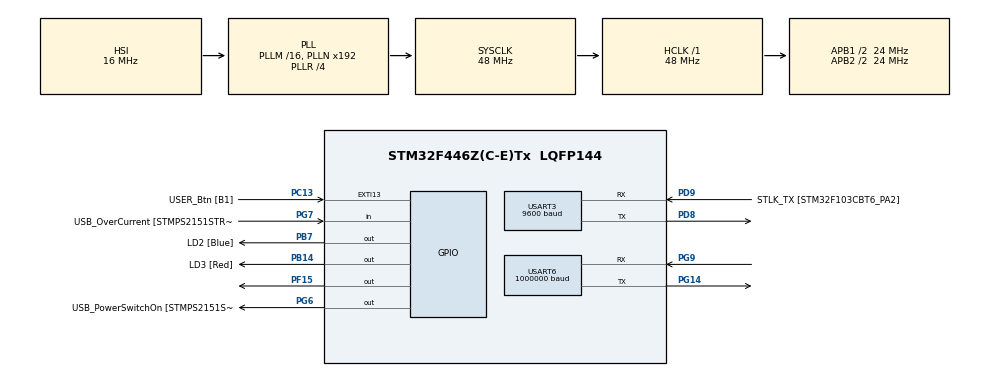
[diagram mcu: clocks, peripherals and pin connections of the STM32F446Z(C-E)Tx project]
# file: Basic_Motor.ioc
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Mcu.Family=STM32F4
Mcu.Name=STM32F446Z(C-E)Tx
Mcu.Package=LQFP144
NVIC.PriorityGroup=NVIC_PRIORITYGROUP_4
PA10.GPIO_Label=USB_ID
PA10.Signal=USB_OTG_FS_ID
PA11.GPIO_Label=USB_DM
PA11.Signal=USB_OTG_FS_DM
PA12.GPIO_Label=USB_DP
PA12.Signal=USB_OTG_FS_DP
PA13.GPIO_Label=TMS
PA13.Signal=SYS_JTMS-SWDIO
PA14.GPIO_Label=TCK
PA14.Signal=SYS_JTCK-SWCLK
PA8.GPIO_Label=USB_SOF [TP1]
PA8.Signal=USB_OTG_FS_SOF
PA9.GPIO_Label=USB_VBUS
PA9.Signal=USB_OTG_FS_VBUS
PB14.GPIO_Label=LD3 [Red]
PB14.Signal=GPIO_Output
PB7.GPIO_Label=LD2 [Blue]
PB7.Signal=GPIO_Output
PC13.GPIO_Label=USER_Btn [B1]
PC13.Signal=GPXTI13
PC14-OSC32_IN.Signal=RCC_OSC32_IN
PC15-OSC32_OUT.Signal=RCC_OSC32_OUT
PD8.Mode=Asynchronous
PD8.Signal=USART3_TX
PD9.GPIO_Label=STLK_TX [STM32F103CBT6_PA2]
PD9.Mode=Asynchronous
PD9.Signal=USART3_RX
PF15.GPIO_Speed=GPIO_SPEED_FREQ_VERY_HIGH
PF15.Signal=GPIO_Output
PG14.Mode=Asynchronous
PG14.Signal=USART6_TX
PG6.GPIO_Label=USB_PowerSwitchOn [STMPS2151STR_EN]
PG6.Signal=GPIO_Output
PG7.GPIO_Label=USB_OverCurrent [STMPS2151STR_FAULT]
PG7.Signal=GPIO_Input
PG9.Mode=Asynchronous
PG9.Signal=USART6_RX
PH0-OSC_IN.GPIO_Label=MCO [STM32F103CBT6_PA8]
PH0-OSC_IN.Signal=RCC_OSC_IN
PH1-OSC_OUT.Signal=RCC_OSC_OUT
ProjectManager.HeapSize=0x200
ProjectManager.StackSize=0x400
ProjectManager.TargetToolchain=SW4STM32
RCC.48MHZClocksFreq_Value=24000000
RCC.AHBFreq_Value=48000000
RCC.APB1CLKDivider=RCC_HCLK_DIV2
RCC.APB1Freq_Value=24000000
RCC.APB1TimFreq_Value=48000000
RCC.APB2CLKDivider=RCC_HCLK_DIV2
RCC.APB2Freq_Value=24000000
RCC.APB2TimFreq_Value=48000000
RCC.CortexFreq_Value=48000000
RCC.HCLKFreq_Value=48000000
RCC.HSE_VALUE=8000000
RCC.HSI_VALUE=16000000
RCC.LSE_VALUE=32768
RCC.PLLMUL=RCC_PLL_MUL9
RCC.PLLR=4
RCC.PRESCALERUSB=RCC_USBCLKSOURCE_PLL_DIV1_5
RCC.SYSCLKFreq_VALUE=48000000
RCC.SYSCLKSource=RCC_SYSCLKSOURCE_PLLRCLK
RCC.SYSCLKSourceVirtual=RCC_SYSCLKSOURCE_PLLCLK
RCC.USBFreq_Value=96000000
RCC.VCOOutputFreq_Value=192000000
USART3.BaudRate=9600
USART3.VirtualMode=VM_ASYNC
USART6.BaudRate=1000000
USART6.VirtualMode=VM_ASYNC
board=NUCLEO-F446ZE

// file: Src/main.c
/**
  ******************************************************************************
  * File Name          : main.c
  * Description        : Main program body
  ******************************************************************************
  ** This notice applies to any and all portions of this file
  * that are not between comment pairs USER CODE BEGIN and
  * USER CODE END. Other portions of this file, whether
  * inserted by the user or by software development tools
  * are owned by their respective copyright owners.
  *
  * COPYRIGHT(c) 2017 STMicroelectronics
  *
  * Redistribution and use in source and binary forms, with or without modification,
  * are permitted provided that the following conditions are met:
  *   1. Redistributions of source code must retain the above copyright notice,
  *      this list of conditions and the following disclaimer.
  *   2. Redistributions in binary form must reproduce the above copyright notice,
  *      this list of conditions and the following disclaimer in the documentation
  *      and/or other materials provided with the distribution.
  *   3. Neither the name of STMicroelectronics nor the names of its contributors
  *      may be used to endorse or promote products derived from this software
  *      without specific prior written permission.
  *
  * THIS SOFTWARE IS PROVIDED BY THE COPYRIGHT HOLDERS AND CONTRIBUTORS "AS IS"
  * AND ANY EXPRESS OR IMPLIED WARRANTIES, INCLUDING, BUT NOT LIMITED TO, THE
  * IMPLIED WARRANTIES OF MERCHANTABILITY AND FITNESS FOR A PARTICULAR PURPOSE ARE
  * DISCLAIMED. IN NO EVENT SHALL THE COPYRIGHT HOLDER OR CONTRIBUTORS BE LIABLE
  * FOR ANY DIRECT, INDIRECT, INCIDENTAL, SPECIAL, EXEMPLARY, OR CONSEQUENTIAL
  * DAMAGES (INCLUDING, BUT NOT LIMITED TO, PROCUREMENT OF SUBSTITUTE GOODS OR
  * SERVICES; LOSS OF USE, DATA, OR PROFITS; OR BUSINESS INTERRUPTION) HOWEVER
  * CAUSED AND ON ANY THEORY OF LIABILITY, WHETHER IN CONTRACT, STRICT LIABILITY,
  * OR TORT (INCLUDING NEGLIGENCE OR OTHERWISE) ARISING IN ANY WAY OUT OF THE USE
  * OF THIS SOFTWARE, EVEN IF ADVISED OF THE POSSIBILITY OF SUCH DAMAGE.
  *
  ******************************************************************************
  */
#include "main.h"
#include "stm32f4xx_hal.h"

UART_HandleTypeDef huart3;
UART_HandleTypeDef huart6;

/* USER CODE BEGIN PV */
/* Private variables ---------------------------------------------------------*/

/* USER CODE END PV */

void SystemClock_Config(void);
static void MX_GPIO_Init(void);
static void MX_USART6_UART_Init(void);
static void MX_USART3_UART_Init(void);

/* USER CODE BEGIN PFP */
/* Private function prototypes -----------------------------------------------*/
static void Dynamixel_SetAngle(double angle);
static void Dynamixel_Transmit(void);
static void Dynamixel_Receive(void);
/* USER CODE END PFP */

int main(void)
{

  /* MCU Configuration----------------------------------------------------------*/

  /* Reset of all peripherals, Initializes the Flash interface and the Systick. */
  HAL_Init();

  /* Configure the system clock */
  SystemClock_Config();

  /* Initialize all configured peripherals */
  MX_GPIO_Init();
  MX_USART6_UART_Init();
  MX_USART3_UART_Init();

  /* Infinite loop */
  while (1)
  {

  /* USER CODE BEGIN 3 */
	  //Dynamixel_SetAngle(0);
	  //Dynamixel_Receive();
	  HAL_GPIO_WritePin(GPIOF, GPIO_PIN_15, 1);
	  uint8_t array[11] = {0xff, 0xff, 0xfe, 0x07, 0x03, 0x1e, 0xfe, 0x00, 0xff, 0x00, 0xdc};
	  HAL_UART_Transmit(&huart6, array, 11, 100);
	  HAL_GPIO_WritePin(GPIOF, GPIO_PIN_15, 0);
	  HAL_Delay(1500);

	  HAL_GPIO_WritePin(GPIOF, GPIO_PIN_15, 1);
	  uint8_t array2[11] = {0xff, 0xff, 0xfe, 0x07, 0x03, 0x1e, 0x00, 0x00, 0xff, 0x00, 0xda};
	  HAL_UART_Transmit(&huart6, array2, 11, 100);
	  HAL_GPIO_WritePin(GPIOF, GPIO_PIN_15, 0);
	  HAL_Delay(1500);
  }
  /* USER CODE END 3 */

}

/** System Clock Configuration
*/
void SystemClock_Config(void)
{

  RCC_OscInitTypeDef RCC_OscInitStruct;
  RCC_ClkInitTypeDef RCC_ClkInitStruct;

    /**Configure the main internal regulator output voltage
    */
  __HAL_RCC_PWR_CLK_ENABLE();

  __HAL_PWR_VOLTAGESCALING_CONFIG(PWR_REGULATOR_VOLTAGE_SCALE3);

    /**Initializes the CPU, AHB and APB busses clocks
    */
  RCC_OscInitStruct.OscillatorType = RCC_OSCILLATORTYPE_HSI;
  RCC_OscInitStruct.HSIState = RCC_HSI_ON;
  RCC_OscInitStruct.HSICalibrationValue = 16;
  RCC_OscInitStruct.PLL.PLLState = RCC_PLL_ON;
  RCC_OscInitStruct.PLL.PLLSource = RCC_PLLSOURCE_HSI;
  RCC_OscInitStruct.PLL.PLLM = 16;
  RCC_OscInitStruct.PLL.PLLN = 192;
  RCC_OscInitStruct.PLL.PLLP = RCC_PLLP_DIV2;
  RCC_OscInitStruct.PLL.PLLQ = 2;
  RCC_OscInitStruct.PLL.PLLR = 4;
  if (HAL_RCC_OscConfig(&RCC_OscInitStruct) != HAL_OK)
  {
    _Error_Handler(__FILE__, __LINE__);
  }

    /**Initializes the CPU, AHB and APB busses clocks
    */
  RCC_ClkInitStruct.ClockType = RCC_CLOCKTYPE_HCLK|RCC_CLOCKTYPE_SYSCLK
                              |RCC_CLOCKTYPE_PCLK1|RCC_CLOCKTYPE_PCLK2;
  RCC_ClkInitStruct.SYSCLKSource = RCC_SYSCLKSOURCE_PLLRCLK;
  RCC_ClkInitStruct.AHBCLKDivider = RCC_SYSCLK_DIV1;
  RCC_ClkInitStruct.APB1CLKDivider = RCC_HCLK_DIV2;
  RCC_ClkInitStruct.APB2CLKDivider = RCC_HCLK_DIV2;

  if (HAL_RCC_ClockConfig(&RCC_ClkInitStruct, FLASH_LATENCY_1) != HAL_OK)
  {
    _Error_Handler(__FILE__, __LINE__);
  }

    /**Configure the Systick interrupt time
    */
  HAL_SYSTICK_Config(HAL_RCC_GetHCLKFreq()/1000);

    /**Configure the Systick
    */
  HAL_SYSTICK_CLKSourceConfig(SYSTICK_CLKSOURCE_HCLK);

  /* SysTick_IRQn interrupt configuration */
  HAL_NVIC_SetPriority(SysTick_IRQn, 0, 0);
}

/* USART3 init function */
static void MX_USART3_UART_Init(void)
{

  huart3.Instance = USART3;
  huart3.Init.BaudRate = 9600;
  huart3.Init.WordLength = UART_WORDLENGTH_8B;
  huart3.Init.StopBits = UART_STOPBITS_1;
  huart3.Init.Parity = UART_PARITY_NONE;
  huart3.Init.Mode = UART_MODE_TX_RX;
  huart3.Init.HwFlowCtl = UART_HWCONTROL_NONE;
  huart3.Init.OverSampling = UART_OVERSAMPLING_16;
  if (HAL_UART_Init(&huart3) != HAL_OK)
  {
    _Error_Handler(__FILE__, __LINE__);
  }

}

/* USART6 init function */
static void MX_USART6_UART_Init(void)
{

  huart6.Instance = USART6;
  huart6.Init.BaudRate = 1000000;
  huart6.Init.WordLength = UART_WORDLENGTH_8B;
  huart6.Init.StopBits = UART_STOPBITS_1;
  huart6.Init.Parity = UART_PARITY_NONE;
  huart6.Init.Mode = UART_MODE_TX_RX;
  huart6.Init.HwFlowCtl = UART_HWCONTROL_NONE;
  huart6.Init.OverSampling = UART_OVERSAMPLING_16;
  if (HAL_UART_Init(&huart6) != HAL_OK)
  {
    _Error_Handler(__FILE__, __LINE__);
  }

}

/** Configure pins as
        * Analog
        * Input
        * Output
        * EVENT_OUT
        * EXTI
     PA8   ------> USB_OTG_FS_SOF
     PA9   ------> USB_OTG_FS_VBUS
     PA10   ------> USB_OTG_FS_ID
     PA11   ------> USB_OTG_FS_DM
     PA12   ------> USB_OTG_FS_DP
*/
static void MX_GPIO_Init(void)
{

  GPIO_InitTypeDef GPIO_InitStruct;

  /* GPIO Ports Clock Enable */
  __HAL_RCC_GPIOC_CLK_ENABLE();
  __HAL_RCC_GPIOH_CLK_ENABLE();
  __HAL_RCC_GPIOF_CLK_ENABLE();
  __HAL_RCC_GPIOB_CLK_ENABLE();
  __HAL_RCC_GPIOD_CLK_ENABLE();
  __HAL_RCC_GPIOG_CLK_ENABLE();
  __HAL_RCC_GPIOA_CLK_ENABLE();

  /*Configure GPIO pin Output Level */
  HAL_GPIO_WritePin(GPIOF, GPIO_PIN_15, GPIO_PIN_RESET);

  /*Configure GPIO pin Output Level */
  HAL_GPIO_WritePin(GPIOB, LD3_Pin|LD2_Pin, GPIO_PIN_RESET);

  /*Configure GPIO pin Output Level */
  HAL_GPIO_WritePin(USB_PowerSwitchOn_GPIO_Port, USB_PowerSwitchOn_Pin, GPIO_PIN_RESET);

  /*Configure GPIO pin : USER_Btn_Pin */
  GPIO_InitStruct.Pin = USER_Btn_Pin;
  GPIO_InitStruct.Mode = GPIO_MODE_IT_RISING;
  GPIO_InitStruct.Pull = GPIO_NOPULL;
  HAL_GPIO_Init(USER_Btn_GPIO_Port, &GPIO_InitStruct);

  /*Configure GPIO pin : PF15 */
  GPIO_InitStruct.Pin = GPIO_PIN_15;
  GPIO_InitStruct.Mode = GPIO_MODE_OUTPUT_PP;
  GPIO_InitStruct.Pull = GPIO_NOPULL;
  GPIO_InitStruct.Speed = GPIO_SPEED_FREQ_VERY_HIGH;
  HAL_GPIO_Init(GPIOF, &GPIO_InitStruct);

  /*Configure GPIO pins : LD3_Pin LD2_Pin */
  GPIO_InitStruct.Pin = LD3_Pin|LD2_Pin;
  GPIO_InitStruct.Mode = GPIO_MODE_OUTPUT_PP;
  GPIO_InitStruct.Pull = GPIO_NOPULL;
  GPIO_InitStruct.Speed = GPIO_SPEED_FREQ_LOW;
  HAL_GPIO_Init(GPIOB, &GPIO_InitStruct);

  /*Configure GPIO pin : USB_PowerSwitchOn_Pin */
  GPIO_InitStruct.Pin = USB_PowerSwitchOn_Pin;
  GPIO_InitStruct.Mode = GPIO_MODE_OUTPUT_PP;
  GPIO_InitStruct.Pull = GPIO_NOPULL;
  GPIO_InitStruct.Speed = GPIO_SPEED_FREQ_LOW;
  HAL_GPIO_Init(USB_PowerSwitchOn_GPIO_Port, &GPIO_InitStruct);

  /*Configure GPIO pin : USB_OverCurrent_Pin */
  GPIO_InitStruct.Pin = USB_OverCurrent_Pin;
  GPIO_InitStruct.Mode = GPIO_MODE_INPUT;
  GPIO_InitStruct.Pull = GPIO_NOPULL;
  HAL_GPIO_Init(USB_OverCurrent_GPIO_Port, &GPIO_InitStruct);

  /*Configure GPIO pins : USB_SOF_Pin USB_ID_Pin USB_DM_Pin USB_DP_Pin */
  GPIO_InitStruct.Pin = USB_SOF_Pin|USB_ID_Pin|USB_DM_Pin|USB_DP_Pin;
  GPIO_InitStruct.Mode = GPIO_MODE_AF_PP;
  GPIO_InitStruct.Pull = GPIO_NOPULL;
  GPIO_InitStruct.Speed = GPIO_SPEED_FREQ_VERY_HIGH;
  GPIO_InitStruct.Alternate = GPIO_AF10_OTG_FS;
  HAL_GPIO_Init(GPIOA, &GPIO_InitStruct);

  /*Configure GPIO pin : USB_VBUS_Pin */
  GPIO_InitStruct.Pin = USB_VBUS_Pin;
  GPIO_InitStruct.Mode = GPIO_MODE_INPUT;
  GPIO_InitStruct.Pull = GPIO_NOPULL;
  HAL_GPIO_Init(USB_VBUS_GPIO_Port, &GPIO_InitStruct);

}

/* USER CODE BEGIN 4 */
static void Dynamixel_SetAngle(double angle)
{
	/* Takes a double between 0 and 300, encodes this position in an
	 * upper and low hex byte pair (with a maximum of 1023 as defined in the AX-12
	 * user manual), and sends this information (along with requisites) over UART
	 */
	uint8_t Dynamixel_Requisites[5] = {0xff, 0xff, 0xfe, 0x05, 0x03}; // Obligatory bytes for setting angle

	uint8_t reg_Goal_Position[1] = {0x1e}; // Address of goal position
	uint8_t reg_Angle_Low_Byte[1]; // Low byte of goal position // Test case 1: 0xfe | Test case 2: 0xfd
	uint8_t reg_Angle_High_Byte[1]; // High byte of goal position // Test case 1: 0x00 | Test case 2: 0x01
	uint8_t Checksum[1]; // check sum = 255 - (sum % 256)

	// Do computations
	int normalized_value = (int)(angle / 300 * 1023); // maximum angle of 1023
	reg_Angle_Low_Byte[0] = normalized_value & 0xFF;
	reg_Angle_High_Byte[0] = (normalized_value >> 8) & 0xFF;

	Checksum[0] = 255 - ((Dynamixel_Requisites[2]
						+ Dynamixel_Requisites[3]
						+ Dynamixel_Requisites[4]
						+ reg_Goal_Position[0]
						+ reg_Angle_Low_Byte[0]
						+ reg_Angle_High_Byte[0]
						) % 256);

	// Set data direction
	Dynamixel_Transmit();

	// Transmit
	HAL_UART_Transmit(&huart6, Dynamixel_Requisites, 5, 100);
	HAL_UART_Transmit(&huart6, reg_Goal_Position, 1, 100);
	HAL_UART_Transmit(&huart6, reg_Angle_Low_Byte, 1, 100);
	HAL_UART_Transmit(&huart6, reg_Angle_High_Byte, 1, 100);
	HAL_UART_Transmit(&huart6, Checksum, 1, 100);
}

static void Dynamixel_Transmit(void){
	/* Sets the serial data direction to transmit */

	/* THIS SHOULD BE A MACRO */
	HAL_GPIO_WritePin(GPIOF, GPIO_PIN_15, 1); // Switch to TX
}

static void Dynamixel_Receive(void){
	/* Receives 7 bytes from the Dynamixel AX-12 and transmits them over a separate UART interface
	 *
	 * Sets the serial data direction to receive. Actual receive and transmit are
	 * handled in the UART6 ISR.
	 */

	/* THIS SHOULD BE A MACRO */
	HAL_GPIO_WritePin(GPIOF, GPIO_PIN_15, 0); // Switch to RX
}
/* USER CODE END 4 */

void _Error_Handler(char * file, int line)
{
  while(1)
  {
  }
}

/************************ (C) COPYRIGHT STMicroelectronics *****END OF FILE****/
